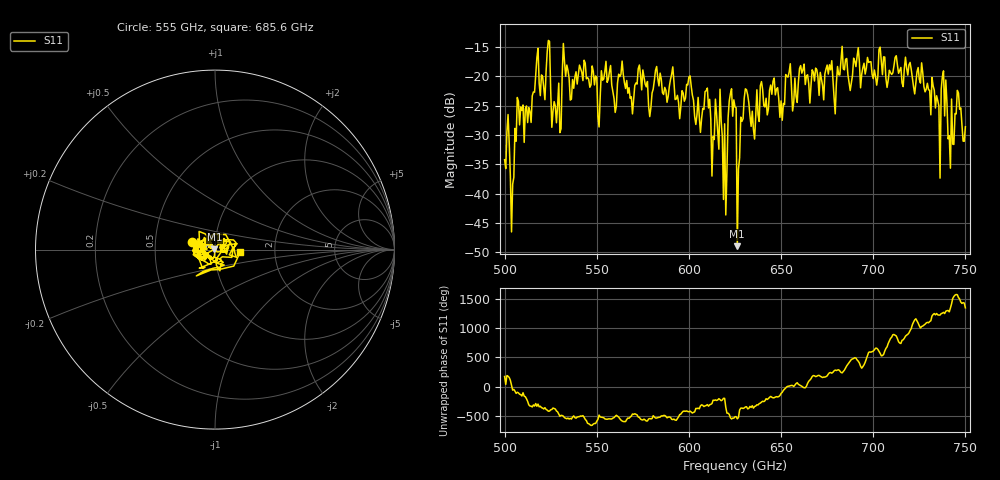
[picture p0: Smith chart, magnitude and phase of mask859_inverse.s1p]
!Created with skrf (http://scikit-rf.org).
# GHz S MA R 50.0
!freq magS11 angS11
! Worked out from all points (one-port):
!   401 points, 500 GHz to 750 GHz, reference 50 ohm
!   lowest |S11| = -49.0 dB at 626.2 GHz (marker M1), VSWR 1.01, Z = 49.7 + j0.0747 ohm
!   |S11| at or under -10 dB: start of sweep to end of sweep
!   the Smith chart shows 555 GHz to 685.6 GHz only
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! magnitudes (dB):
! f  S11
! 500 GHz  -34.2
! 504.4 GHz  -38.4
! 508.1 GHz  -28.3
! 513.8 GHz  -26.1
! 517.5 GHz  -16.9
! 523.8 GHz  -13.9
! 526.9 GHz  -24.3
! 531.2 GHz  -19.8
! 533.1 GHz  -20.0
! 550.6 GHz  -26.9
! 562.5 GHz  -20.1
! 579.4 GHz  -25.3
! 590.6 GHz  -19.7
! 593.8 GHz  -23.3
! 610 GHz  -22.0
! 612.5 GHz  -37.0
! 618.1 GHz  -30.3
! 619.4 GHz  -28.1
! 622.5 GHz  -23.0
! 624.4 GHz  -24.0
! 625 GHz  -25.2
! 626.2 GHz  -49.0
! 631.2 GHz  -22.3
! 635 GHz  -29.1
! 656.2 GHz  -25.9
! 687.5 GHz  -22.4
! 718.8 GHz  -19.8
! 750 GHz  -28.6
